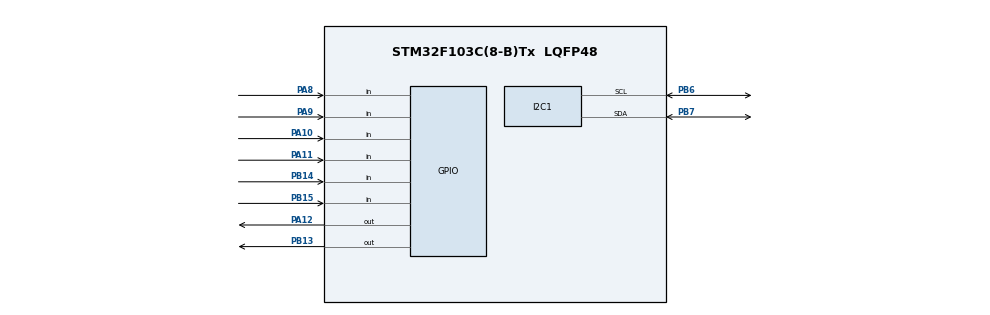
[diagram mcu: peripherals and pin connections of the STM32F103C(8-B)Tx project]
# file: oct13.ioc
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Mcu.Family=STM32F1
Mcu.Name=STM32F103C(8-B)Tx
Mcu.Package=LQFP48
NVIC.PriorityGroup=NVIC_PRIORITYGROUP_4
PA10.GPIO_PuPd=GPIO_PULLUP
PA10.Signal=GPIO_Input
PA11.GPIO_PuPd=GPIO_PULLUP
PA11.Signal=GPIO_Input
PA12.Signal=GPIO_Output
PA8.GPIO_PuPd=GPIO_PULLUP
PA8.Signal=GPIO_Input
PA9.GPIO_PuPd=GPIO_PULLUP
PA9.Signal=GPIO_Input
PB13.Signal=GPIO_Output
PB14.GPIO_PuPd=GPIO_PULLUP
PB14.Signal=GPIO_Input
PB15.GPIO_PuPd=GPIO_PULLUP
PB15.Signal=GPIO_Input
PB6.Mode=I2C
PB6.Signal=I2C1_SCL
PB7.Mode=I2C
PB7.Signal=I2C1_SDA
PC14-OSC32_IN.Mode=LSE-External-Oscillator
PC14-OSC32_IN.Signal=RCC_OSC32_IN
PC15-OSC32_OUT.Mode=LSE-External-Oscillator
PC15-OSC32_OUT.Signal=RCC_OSC32_OUT
ProjectManager.HeapSize=0x200
ProjectManager.StackSize=0x400
ProjectManager.TargetToolchain=STM32CubeIDE
RCC.APB1Freq_Value=8000000
RCC.APB2Freq_Value=8000000
VP_RTC_VS_RTC_Activate.Mode=RTC_Enabled
VP_RTC_VS_RTC_Calendar.Mode=RTC_Calendar
VP_SYS_VS_ND.Mode=No_Debug
board=custom

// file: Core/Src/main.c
/* USER CODE BEGIN Header */
/**
  ******************************************************************************
  * @file           : main.c
  * @brief          : Main program body
  ******************************************************************************
  * @attention
  *
  * Copyright (c) 2026 STMicroelectronics.
  * All rights reserved.
  *
  * This software is licensed under terms that can be found in the LICENSE file
  * in the root directory of this software component.
  * If no LICENSE file comes with this software, it is provided AS-IS.
  *
  ******************************************************************************
  */
/* USER CODE END Header */
#include "main.h"
#include <string.h>
#include <stdio.h>
#include "ssd1306.h"
#include "ssd1306_tests.h"
#include "ssd1306_fonts.h"

I2C_HandleTypeDef hi2c1;

RTC_HandleTypeDef hrtc;

void SystemClock_Config(void);
static void MX_GPIO_Init(void);
static void MX_I2C1_Init(void);
static void MX_RTC_Init(void);

int main(void)
{

  /* MCU Configuration--------------------------------------------------------*/

  /* Reset of all peripherals, Initializes the Flash interface and the Systick. */
  HAL_Init();

  /* Configure the system clock */
  SystemClock_Config();

  /* Initialize all configured peripherals */
  MX_GPIO_Init();
  MX_I2C1_Init();
  MX_RTC_Init();
  /* USER CODE BEGIN 2 */
  GPIO_PinState previous = GPIO_PIN_RESET; // pull-up button,
  GPIO_PinState b_previous = GPIO_PIN_RESET;  // high - not pressed - set
  GPIO_PinState timer_previous = GPIO_PIN_RESET;  // low - pressed - reset
  GPIO_PinState stop_previous = GPIO_PIN_RESET;
  GPIO_PinState alaram = GPIO_PIN_RESET;
  uint8_t count =0; // changing the options timer,timers,stopwatch
  uint8_t choose =0; // selecting the option
  static uint8_t timer_intro_done = 0;
  uint8_t sec =0; // store incremented timer value
  uint32_t min =0; // same
  uint32_t hour=0;  // same
  uint32_t total_secs=0; // store the time in seconds
  uint32_t updated_GetTick=0;  // when the Halgettick is equal to the total_secs in millisec
  static uint8_t timer_running =0;
  uint8_t alaram_running = 0;
  uint32_t tick =0; // for HALget tick storing at that point when edge detected
  uint32_t total =0;// sec
  uint32_t hh =  0; // hours from min
  uint32_t mm =  0; // min from sec
  uint32_t ss =  0;// sec fpr range
  uint32_t a_sec =0;
  uint32_t a_min =0;
  uint32_t a_hour=0;
  uint8_t lap_hh = 0; // laps
  uint8_t lap_mm = 0; //laps
  uint8_t lap_ss = 0; // laps
  char TIME[30]; // buffer for time printing
  char year[30];  // buffer for date printing
  RTC_TimeTypeDef sTime = {0};   // declare this outside the loop
  RTC_DateTypeDef sDate = {0};   // rtc
  ssd1306_Init(); //  initializing the display to start
  /* USER CODE END 2 */

  /* Infinite loop */
  while (1)
  {

    /* USER CODE BEGIN 3 */
	  GPIO_PinState button_1 = HAL_GPIO_ReadPin(GPIOA, GPIO_PIN_8);
	  GPIO_PinState button_2 = HAL_GPIO_ReadPin(GPIOA, GPIO_PIN_9);
	  GPIO_PinState button_3 = HAL_GPIO_ReadPin(GPIOA, GPIO_PIN_10);
	  GPIO_PinState button_4 = HAL_GPIO_ReadPin(GPIOB, GPIO_PIN_14);
	  if(button_1 != previous){
		  if (button_1 == GPIO_PIN_RESET) {   // ← only count the press edge
			  choose =(choose +1)%4; //0123
		  }
		  previous = button_1;
	  }
	  if(button_3 !=  b_previous){
		  if (button_3 == GPIO_PIN_RESET) {   // ← only count the press edge
			  count =(count +1)%4;
		  }
		  b_previous = button_3;
	  }
	  if(choose == 0){
		  ssd1306_Fill(Black);
		  ssd1306_SetCursor(40, 20);
     	  ssd1306_WriteString("time", Font_11x18, White);
     	  ssd1306_SetCursor(0, 20);
     	  ssd1306_WriteString("<", Font_11x18, White);
     	  ssd1306_SetCursor(115, 20);
     	  ssd1306_WriteString(">", Font_11x18, White);
     	  ssd1306_UpdateScreen();
     	  HAL_Delay(50);
     	  if( button_2  == GPIO_PIN_RESET){
     		  HAL_RTC_GetTime(&hrtc, &sTime, RTC_FORMAT_BIN);
     		  HAL_RTC_GetDate(&hrtc, &sDate, RTC_FORMAT_BIN);
              snprintf(year,sizeof(year),"%04d-%02d-%02d",sDate.Year + 2000, sDate.Month, sDate.Date);
              snprintf(TIME,sizeof(TIME),"%02d:%02d:%02d",sTime.Hours, sTime.Minutes, sTime.Seconds);
              ssd1306_Fill(Black);
			  ssd1306_SetCursor(1, 0);
			  ssd1306_WriteString("Date:", Font_7x10, White);
			  ssd1306_SetCursor(1, 30);
			  ssd1306_WriteString("Time:", Font_7x10, White);
              ssd1306_SetCursor(1, 40);
              ssd1306_WriteString(TIME, Font_11x18, White);
              ssd1306_SetCursor(1, 10);
     		  ssd1306_WriteString(year, Font_11x18, White);
     		  ssd1306_UpdateScreen();
     		  HAL_Delay(2000);
     	  }
	  }
	  else if(choose == 1){
		  ssd1306_Fill(Black);
		  ssd1306_SetCursor(35, 20);
		  ssd1306_WriteString("timer", Font_11x18, White);
		  ssd1306_SetCursor(0, 20);
		  ssd1306_WriteString("<", Font_11x18, White);
    	  ssd1306_SetCursor(115, 20);
		  ssd1306_WriteString(">", Font_11x18, White);
	 	  if(count == 1){
	 		  if (!timer_intro_done)
	 		  {
	 			  ssd1306_Fill(Black);
	 		      ssd1306_SetCursor(24, 20);
	 		      ssd1306_WriteString("00:", Font_11x18, White);
	 		      ssd1306_SetCursor(54, 20);
	 		      ssd1306_WriteString("00:", Font_11x18, White);
	 		      ssd1306_SetCursor(85, 20);
	 		      ssd1306_WriteString("00", Font_11x18, White);
	 		      ssd1306_UpdateScreen();
	 		      HAL_Delay(1000);                 // hold 1.5 s (blocking is OK here, once)
	 		      timer_intro_done = 1;           // never do this again only once
	 		    }
	 		  if(button_4 == GPIO_PIN_RESET){
	 			  sec = (sec+1)%60;
	 		  }
	 		  ssd1306_Fill(Black);
	 		  ssd1306_SetCursor(85, 40);
	 		  ssd1306_WriteString("^", Font_11x18, White);
			  ssd1306_SetCursor(78, 20);                      // using after the loop is best way to print updated variables
		 	  ssd1306_WriteString(":", Font_11x18, White);
		 	  ssd1306_SetCursor(46, 20);
		 	  ssd1306_WriteString(":", Font_11x18, White);
	 		  ssd1306_SetCursor(75, 50);
	 		  ssd1306_WriteString("SECONDS", Font_7x10, White);
	 		  snprintf(TIME, sizeof(TIME), "%lu", sec);
	 		  ssd1306_SetCursor(85, 20);
	 		  ssd1306_WriteString(TIME, Font_11x18, White);
	 		  snprintf(TIME, sizeof(TIME), "%lu", min);
	 		  ssd1306_SetCursor(54, 20);
	 		  ssd1306_WriteString(TIME, Font_11x18, White);
	 		  snprintf(TIME, sizeof(TIME), "%lu", hour);
	 		  ssd1306_SetCursor(24, 20);
	 		  ssd1306_WriteString(TIME, Font_11x18, White);
	 	  }
	 	  else if(count  ==2){
	 		  if(button_4 == GPIO_PIN_RESET){
	 			 min = (min+1)%60;
	 		  }
	 		  ssd1306_Fill(Black);
	 		  ssd1306_SetCursor(54, 40);
	 		  ssd1306_WriteString("^", Font_11x18, White);
	 		  ssd1306_SetCursor(46, 20);
	 		  ssd1306_WriteString(":", Font_11x18, White);
	 		  ssd1306_SetCursor(78, 20);
	 		  ssd1306_WriteString(":", Font_11x18, White);
	 		  ssd1306_SetCursor(40, 50);
	 		  ssd1306_WriteString("MINUTES", Font_7x10, White);
	 		  snprintf(TIME, sizeof(TIME), "%lu", sec);
	 		  ssd1306_SetCursor(85,20);
	 		  ssd1306_WriteString(TIME, Font_11x18, White);
	 		  snprintf(TIME, sizeof(TIME), "%lu", min);
	 		  ssd1306_SetCursor(54, 20);
	 		  ssd1306_WriteString(TIME, Font_11x18, White);
	 		  snprintf(TIME, sizeof(TIME), "%lu", hour);
	 	      ssd1306_SetCursor(24, 20);
	 		  ssd1306_WriteString(TIME, Font_11x18, White);
	 	  }
	 	  else if(count  ==3){
	 		  if(button_4 == GPIO_PIN_RESET){
	 			 hour = (hour+1)%24;
	 		  }
	 		  ssd1306_Fill(Black);
		 	  ssd1306_SetCursor(24, 40);
		 	  ssd1306_WriteString("^", Font_11x18, White);
		      ssd1306_SetCursor(78, 20);
		 	  ssd1306_WriteString(":", Font_11x18, White);
		 	  ssd1306_SetCursor(46, 20);
		 	  ssd1306_WriteString(":", Font_11x18, White);
		 	  ssd1306_SetCursor(12, 50);
		 	  ssd1306_WriteString("HOURS", Font_7x10, White);
		 	  snprintf(TIME, sizeof(TIME), "%lu", sec);
		 	  ssd1306_SetCursor(85, 20);
		 	  ssd1306_WriteString(TIME, Font_11x18, White);
		 	  snprintf(TIME, sizeof(TIME), "%lu", min);
		 	  ssd1306_SetCursor(54, 20);
		 	  ssd1306_WriteString(TIME, Font_11x18, White);
		 	  snprintf(TIME, sizeof(TIME), "%lu", hour);
		 	  ssd1306_SetCursor(24, 20);
		 	  ssd1306_WriteString(TIME, Font_11x18, White);
	 	  }
	 	  if (button_2 != timer_previous) {
	 		  if (button_2 == GPIO_PIN_RESET) {
	 			  total_secs  = (uint32_t)hour * 3600u + (uint32_t)min  * 60u + (uint8_t)sec;
	 			  if (total_secs > 0) {
	 				  updated_GetTick = HAL_GetTick() + (total_secs * 1000u); // convert sec to millisec
	 				  timer_running = 1;
	 			  }
	 		  }
	 		  timer_previous = button_2;
	 	  }
	  }
	  else if(choose == 2){
		  ssd1306_Fill(Black);
		  ssd1306_SetCursor(12, 20);
          ssd1306_WriteString("stopWatch", Font_11x18, White);
          ssd1306_SetCursor(0, 20);
          ssd1306_WriteString("<", Font_11x18, White);
      	  ssd1306_SetCursor(115, 20);
      	  ssd1306_WriteString(">", Font_11x18, White);
      	  ssd1306_SetCursor(20, 40);
      	  ssd1306_WriteString("00:00:00", Font_11x18, White);
          if (button_2 != stop_previous) {
        	  if(button_2 == GPIO_PIN_RESET){
        		  tick = HAL_GetTick();
        		  ssd1306_Fill(Black);
        		  ssd1306_SetCursor(90,10);
        		  ssd1306_WriteString("RESET", Font_7x10,  White);
        	  }
        	  stop_previous = button_2;
          }
          total = (HAL_GetTick() -  tick)/1000 ;
          ss = total % 60;               //converting millisec to sec 0 to 59
          mm = (total/60) % 60;                    // to min 0 to 59
          hh = (total/3600) % 24;                  // to hours 0 to 23
          snprintf(TIME, sizeof(TIME), "%02lu:%02lu:%02lu", hh, mm, ss);
          ssd1306_SetCursor(20, 40);
          ssd1306_WriteString(TIME, Font_11x18,  White);
	      if(count == 1 || count == 2 || count == 3){
	    	  lap_hh = hh;
	    	  lap_mm = mm;
	    	  lap_ss = ss;
	    	  }
	    	  HAL_GPIO_WritePin(GPIOB, GPIO_PIN_13, SET);
	    	  HAL_GPIO_WritePin(GPIOB, GPIO_PIN_13, RESET);
	          snprintf(TIME, sizeof(TIME), "%02u:%02u:%02u", lap_hh, lap_mm, lap_ss);
	          ssd1306_SetCursor(0, 0);    // to see the updated variable on screen keep this outside loop and update variable inside the loop.
	          ssd1306_WriteString(TIME, Font_11x18,  White);
	          count=0;
	  }
	  else if(choose ==3){
		  ssd1306_Fill(Black);
		  ssd1306_SetCursor(35, 20);
		  ssd1306_WriteString("Alaram", Font_11x18, White);
		  ssd1306_SetCursor(0, 20);
		  ssd1306_WriteString("<", Font_11x18, White);
		  ssd1306_SetCursor(115, 20);
		  ssd1306_WriteString(">", Font_11x18, White);
		  if(count == 1){
			  if(button_4 == GPIO_PIN_RESET){
				  a_sec = (a_sec+1)%60;
			  }
			  ssd1306_Fill(Black);
			  ssd1306_SetCursor(85, 40);
	 		  ssd1306_WriteString("^", Font_11x18, White);
		 	  ssd1306_SetCursor(78, 20);                      // using after the loop is best way to print updated variables
		 	  ssd1306_WriteString(":", Font_11x18, White);
		 	  ssd1306_SetCursor(46, 20);
		 	  ssd1306_WriteString(":", Font_11x18, White);
		 	  ssd1306_SetCursor(75, 50);
		 	  ssd1306_WriteString("SECONDS", Font_7x10, White);
		 	  snprintf(TIME, sizeof(TIME), "%lu", a_sec);
		 	  ssd1306_SetCursor(85, 20);
		 	  ssd1306_WriteString(TIME, Font_11x18, White);
	 		  snprintf(TIME, sizeof(TIME), "%lu", a_min);
	 		  ssd1306_SetCursor(54, 20);
	 		  ssd1306_WriteString(TIME, Font_11x18, White);
	 		  snprintf(TIME, sizeof(TIME), "%lu", a_hour);
	 		  ssd1306_SetCursor(24, 20);
	 		  ssd1306_WriteString(TIME, Font_11x18, White);
		  }
		  else if(count  ==2){
			  if(button_4 == GPIO_PIN_RESET){
				  a_min = (a_min+1)%60;
			  }
			  ssd1306_Fill(Black);
		 	  ssd1306_SetCursor(54, 40);
		 	  ssd1306_WriteString("^", Font_11x18, White);
		 	  ssd1306_SetCursor(46, 20);
	 		  ssd1306_WriteString(":", Font_11x18, White);
			  ssd1306_SetCursor(78, 20);
		 	  ssd1306_WriteString(":", Font_11x18, White);
		 	  ssd1306_SetCursor(40, 50);
		 	  ssd1306_WriteString("MINUTES", Font_7x10, White);
		 	  snprintf(TIME, sizeof(TIME), "%lu", a_sec);
		 	  ssd1306_SetCursor(85,20);
		 	  ssd1306_WriteString(TIME, Font_11x18, White);
			  snprintf(TIME, sizeof(TIME), "%lu", a_min);
			  ssd1306_SetCursor(54, 20);
	 		  ssd1306_WriteString(TIME, Font_11x18, White);
	 		  snprintf(TIME, sizeof(TIME), "%lu", a_hour);
		      ssd1306_SetCursor(24, 20);
		 	  ssd1306_WriteString(TIME, Font_11x18, White);
		  }
		  else if(count  ==3){
			  if(button_4 == GPIO_PIN_RESET){
				  a_hour = (a_hour+1)%24;
			  }
			  ssd1306_Fill(Black);
		 	  ssd1306_SetCursor(24, 40);
		 	  ssd1306_WriteString("^", Font_11x18, White);
		 	  ssd1306_SetCursor(78, 20);
		 	  ssd1306_WriteString(":", Font_11x18, White);
		 	  ssd1306_SetCursor(46, 20);
		 	  ssd1306_WriteString(":", Font_11x18, White);
		 	  ssd1306_SetCursor(12, 50);
		 	  ssd1306_WriteString("HOURS", Font_7x10, White);
		 	  snprintf(TIME, sizeof(TIME), "%lu", a_sec);
		 	  ssd1306_SetCursor(85, 20);
		 	  ssd1306_WriteString(TIME, Font_11x18, White);
		 	  snprintf(TIME, sizeof(TIME), "%lu", a_min);
		 	  ssd1306_SetCursor(54, 20);
		 	  ssd1306_WriteString(TIME, Font_11x18, White);
		 	  snprintf(TIME, sizeof(TIME), "%lu", a_hour);
		 	  ssd1306_SetCursor(24, 20);
		 	  ssd1306_WriteString(TIME, Font_11x18, White);
		  }
		  if (button_2 != alaram) {
			  if (button_2 == GPIO_PIN_RESET) {
				  alaram_running = 1;
			  }
			  alaram = button_2;
		  }
	  } // alaram_running,timer_running will be akept at the end of the loop which will help for programs run background display the completion when the task completed on any stage you present at that movement.
	  if(alaram_running==1){
				  HAL_RTC_GetTime(&hrtc, &sTime, RTC_FORMAT_BIN);
			      HAL_RTC_GetDate(&hrtc, &sDate, RTC_FORMAT_BIN);
				  if (a_hour== sTime.Hours && a_min==sTime.Minutes && a_sec== sTime.Seconds){
					  ssd1306_Fill(Black);
					  ssd1306_SetCursor(20, 20);
			 	      ssd1306_WriteString("Alaram completed", Font_7x10, White);
			 	      HAL_GPIO_WritePin(GPIOB, GPIO_PIN_13, SET);
			   	      HAL_Delay(500);
	     		      HAL_GPIO_WritePin(GPIOB, GPIO_PIN_13, RESET);
	     		      alaram_running = 0;
	     		      a_hour = a_min = a_sec = 0;
				      count =0;  //when timer completed go back to the main menu
				  }
			  }
	  if(timer_running==1){
		 		  if(HAL_GetTick() >= updated_GetTick){
		 			  timer_running = 0;
		 		      hour = min = sec = 0;
		              ssd1306_Fill(Black);
		              ssd1306_SetCursor(20, 20);
		 		      ssd1306_WriteString("timer completed", Font_7x10, White);
		 		      HAL_GPIO_WritePin(GPIOB, GPIO_PIN_13, SET);
		 		      HAL_Delay(500);
		 		      HAL_GPIO_WritePin(GPIOB, GPIO_PIN_13, RESET);
		 		      count =0;  //when timer completed go back to the main menu
		 		  }
		 	  }
	  ssd1306_UpdateScreen();   // ← ONE call per loop
	  HAL_Delay(100);
  }
}
  /* USER CODE END 3 */

void SystemClock_Config(void)
{
  RCC_OscInitTypeDef RCC_OscInitStruct = {0};
  RCC_ClkInitTypeDef RCC_ClkInitStruct = {0};
  RCC_PeriphCLKInitTypeDef PeriphClkInit = {0};

  /** Initializes the RCC Oscillators according to the specified parameters
  * in the RCC_OscInitTypeDef structure.
  */
  RCC_OscInitStruct.OscillatorType = RCC_OSCILLATORTYPE_HSI|RCC_OSCILLATORTYPE_LSI;
  RCC_OscInitStruct.HSIState = RCC_HSI_ON;
  RCC_OscInitStruct.HSICalibrationValue = RCC_HSICALIBRATION_DEFAULT;
  RCC_OscInitStruct.LSIState = RCC_LSI_ON;
  RCC_OscInitStruct.PLL.PLLState = RCC_PLL_NONE;
  if (HAL_RCC_OscConfig(&RCC_OscInitStruct) != HAL_OK)
  {
    Error_Handler();
  }

  /** Initializes the CPU, AHB and APB buses clocks
  */
  RCC_ClkInitStruct.ClockType = RCC_CLOCKTYPE_HCLK|RCC_CLOCKTYPE_SYSCLK
                              |RCC_CLOCKTYPE_PCLK1|RCC_CLOCKTYPE_PCLK2;
  RCC_ClkInitStruct.SYSCLKSource = RCC_SYSCLKSOURCE_HSI;
  RCC_ClkInitStruct.AHBCLKDivider = RCC_SYSCLK_DIV1;
  RCC_ClkInitStruct.APB1CLKDivider = RCC_HCLK_DIV1;
  RCC_ClkInitStruct.APB2CLKDivider = RCC_HCLK_DIV1;

  if (HAL_RCC_ClockConfig(&RCC_ClkInitStruct, FLASH_LATENCY_0) != HAL_OK)
  {
    Error_Handler();
  }
  PeriphClkInit.PeriphClockSelection = RCC_PERIPHCLK_RTC;
  PeriphClkInit.RTCClockSelection = RCC_RTCCLKSOURCE_LSI;
  if (HAL_RCCEx_PeriphCLKConfig(&PeriphClkInit) != HAL_OK)
  {
    Error_Handler();
  }
}

static void MX_I2C1_Init(void)
{

  hi2c1.Instance = I2C1;
  hi2c1.Init.ClockSpeed = 100000;
  hi2c1.Init.DutyCycle = I2C_DUTYCYCLE_2;
  hi2c1.Init.OwnAddress1 = 0;
  hi2c1.Init.AddressingMode = I2C_ADDRESSINGMODE_7BIT;
  hi2c1.Init.DualAddressMode = I2C_DUALADDRESS_DISABLE;
  hi2c1.Init.OwnAddress2 = 0;
  hi2c1.Init.GeneralCallMode = I2C_GENERALCALL_DISABLE;
  hi2c1.Init.NoStretchMode = I2C_NOSTRETCH_DISABLE;
  if (HAL_I2C_Init(&hi2c1) != HAL_OK)
  {
    Error_Handler();
  }

}

static void MX_RTC_Init(void)
{

  RTC_TimeTypeDef sTime = {0};
  RTC_DateTypeDef DateToUpdate = {0};

  /** Initialize RTC Only
  */
  hrtc.Instance = RTC;
  hrtc.Init.AsynchPrediv = RTC_AUTO_1_SECOND;
  hrtc.Init.OutPut = RTC_OUTPUTSOURCE_ALARM;
  if (HAL_RTC_Init(&hrtc) != HAL_OK)
  {
    Error_Handler();
  }

  /** Initialize RTC and set the Time and Date
  */
  sTime.Hours = 0x0;
  sTime.Minutes = 0x0;
  sTime.Seconds = 0x0;

  if (HAL_RTC_SetTime(&hrtc, &sTime, RTC_FORMAT_BCD) != HAL_OK)
  {
    Error_Handler();
  }
  DateToUpdate.WeekDay = RTC_WEEKDAY_MONDAY;
  DateToUpdate.Month = RTC_MONTH_JANUARY;
  DateToUpdate.Date = 0x1;
  DateToUpdate.Year = 0x0;

  if (HAL_RTC_SetDate(&hrtc, &DateToUpdate, RTC_FORMAT_BCD) != HAL_OK)
  {
    Error_Handler();
  }

}

static void MX_GPIO_Init(void)
{
  GPIO_InitTypeDef GPIO_InitStruct = {0};

  /* GPIO Ports Clock Enable */
  __HAL_RCC_GPIOC_CLK_ENABLE();
  __HAL_RCC_GPIOB_CLK_ENABLE();
  __HAL_RCC_GPIOA_CLK_ENABLE();

  /*Configure GPIO pin Output Level */
  HAL_GPIO_WritePin(GPIOB, GPIO_PIN_13, GPIO_PIN_RESET);

  /*Configure GPIO pin Output Level */
  HAL_GPIO_WritePin(GPIOA, GPIO_PIN_12, GPIO_PIN_RESET);

  /*Configure GPIO pin : PB13 */
  GPIO_InitStruct.Pin = GPIO_PIN_13;
  GPIO_InitStruct.Mode = GPIO_MODE_OUTPUT_PP;
  GPIO_InitStruct.Pull = GPIO_NOPULL;
  GPIO_InitStruct.Speed = GPIO_SPEED_FREQ_LOW;
  HAL_GPIO_Init(GPIOB, &GPIO_InitStruct);

  /*Configure GPIO pins : PB14 PB15 */
  GPIO_InitStruct.Pin = GPIO_PIN_14|GPIO_PIN_15;
  GPIO_InitStruct.Mode = GPIO_MODE_INPUT;
  GPIO_InitStruct.Pull = GPIO_PULLUP;
  HAL_GPIO_Init(GPIOB, &GPIO_InitStruct);

  /*Configure GPIO pins : PA8 PA9 PA10 PA11 */
  GPIO_InitStruct.Pin = GPIO_PIN_8|GPIO_PIN_9|GPIO_PIN_10|GPIO_PIN_11;
  GPIO_InitStruct.Mode = GPIO_MODE_INPUT;
  GPIO_InitStruct.Pull = GPIO_PULLUP;
  HAL_GPIO_Init(GPIOA, &GPIO_InitStruct);

  /*Configure GPIO pin : PA12 */
  GPIO_InitStruct.Pin = GPIO_PIN_12;
  GPIO_InitStruct.Mode = GPIO_MODE_OUTPUT_PP;
  GPIO_InitStruct.Pull = GPIO_NOPULL;
  GPIO_InitStruct.Speed = GPIO_SPEED_FREQ_LOW;
  HAL_GPIO_Init(GPIOA, &GPIO_InitStruct);

}

void Error_Handler(void)
{
  __disable_irq();
  while (1)
  {
  }
}
